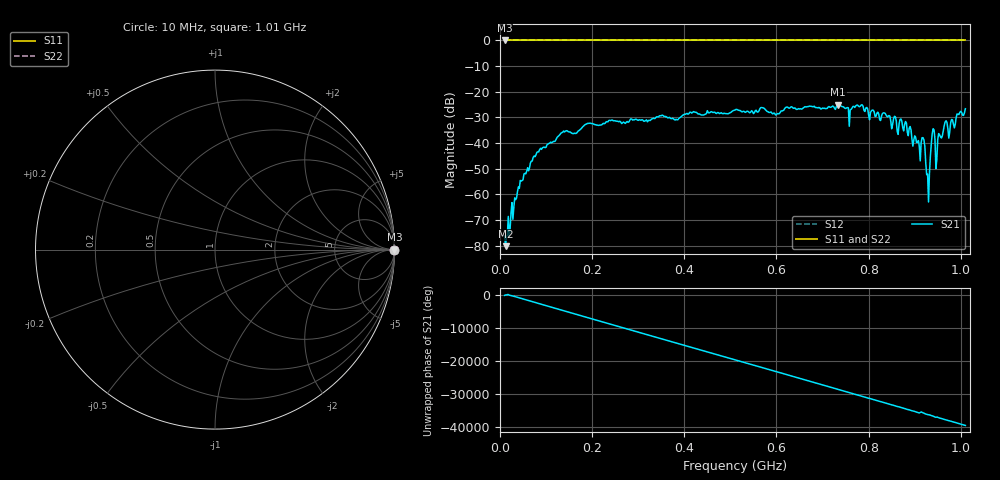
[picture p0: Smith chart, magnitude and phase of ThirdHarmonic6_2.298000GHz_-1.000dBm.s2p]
! 8/17/2025 3:06:09 AM
! C:\ANRITSUVNA\TEMP\TEMP.S2P
! CHANNEL.1
! TR.MEASUREMENT
! RAW.DATA
! RF.CORRECTION.OFF
! AVERAGING.OFF
! IF.BANDWIDTH: 5KHZ
! SWEEPTYPE:  FREQ.SWEEP(Linear)
! Reference Plane Port Info
! PORT:  PORT1  PORT2
! DISTANCE:  0  m  0  m
! TIME:  0  s  0  s
! PHASE.OFFSET:  0  deg.  0  deg.
! LOSS:  0  dB  0  dB
! REF.LOSS:  0  dB  0  dB
! REF.FREQ:  0  Hz  0  Hz
! Power Info
! POWER:  -20  dBm  -20  dBm
! EFF.POWER:  -20  dBm  -20  dBm
! SOURCE.ATTEN:  0  dB  0  dB
! TEST.ATTEN:  0  dB  0  dB
# GHZ S RI R 50.0
! FREQ.GHZ  S11RE  S11IM  S21RE  S21IM  S12RE  S12IM  S22RE  S22IM
!; PortSelection: Port_12
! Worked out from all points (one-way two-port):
!   501 points, 10 MHz to 1.01 GHz, reference 50 ohm
!   highest |S21| = -24.98 dB at 734 MHz (marker M1); lowest = -80.2 dB at 12 MHz (marker M2)
!   lowest |S11| = 0.0 dB at 10 MHz (marker M3)
!   |S11| at or under -10 dB: nowhere
!   |S22| runs from 0.0 to 0.0 dB; largest |S21 - S12| = 1.1
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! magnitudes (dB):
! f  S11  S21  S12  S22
! 10 MHz  0.0  -76.2  0.0  0.0
! 12 MHz  0.0  -80.2  0.0  0.0
! 42 MHz  0.0  -57.6  0.0  0.0
! 76 MHz  0.0  -45.3  0.0  0.0
! 134 MHz  0.0  -36.0  0.0  0.0
! 178 MHz  0.0  -34.0  0.0  0.0
! 344 MHz  0.0  -29.8  0.0  0.0
! 510 MHz  0.0  -27.1  0.0  0.0
! 602 MHz  0.0  -28.5  0.0  0.0
! 678 MHz  0.0  -25.8  0.0  0.0
! 734 MHz  0.0  -25.0  0.0  0.0
! 844 MHz  0.0  -29.3  0.0  0.0
! 884 MHz  0.0  -35.8  0.0  0.0
! 908 MHz  0.0  -39.0  0.0  0.0
! 918 MHz  0.0  -37.9  0.0  0.0
! 928 MHz  0.0  -52.1  0.0  0.0
! 932 MHz  0.0  -51.7  0.0  0.0
! 940 MHz  0.0  -34.4  0.0  0.0
! 948 MHz  0.0  -46.3  0.0  0.0
! 966 MHz  0.0  -31.8  0.0  0.0
! 976 MHz  0.0  -35.7  0.0  0.0
! 1.01 GHz  0.0  -26.6  0.0  0.0
